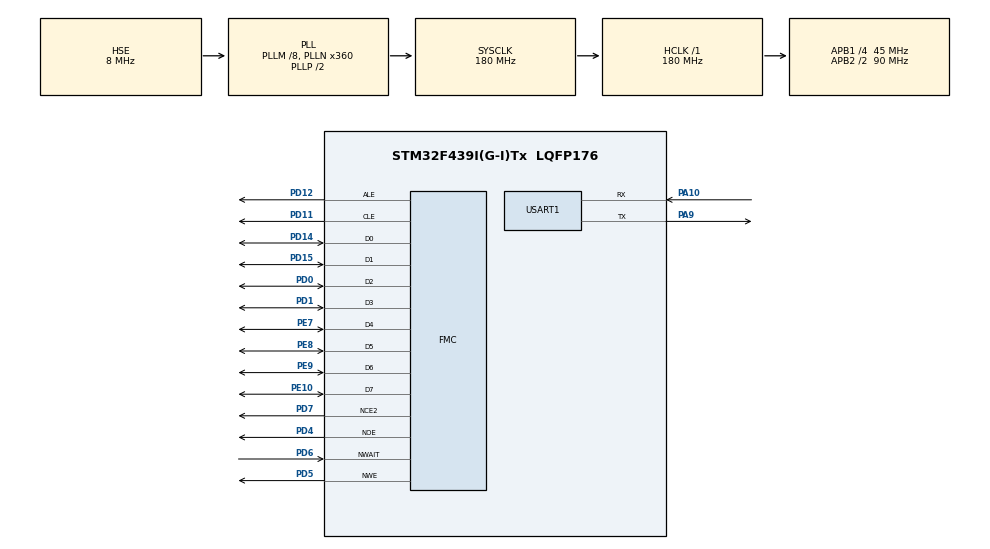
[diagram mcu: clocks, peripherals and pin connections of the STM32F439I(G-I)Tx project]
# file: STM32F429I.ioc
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FMC.AttributeSpaceHiZSetupTime1=0xF5
FMC.AttributeSpaceHoldSetupTime1=0xF2
FMC.AttributeSpaceSetupTime1=0xF5
FMC.AttributeSpaceWaitSetupTime1=0xF3
FMC.CommonSpaceHiZSetupTime1=0xF5
FMC.CommonSpaceHoldSetupTime1=0xF2
FMC.CommonSpaceSetupTime1=0xF5
FMC.CommonSpaceWaitSetupTime1=0xF3
FMC.ECCPageSize1=FMC_NAND_ECC_PAGE_SIZE_512BYTE
FMC.EccComputation1=FMC_NAND_ECC_ENABLE
Mcu.Family=STM32F4
Mcu.Name=STM32F439I(G-I)Tx
Mcu.Package=LQFP176
NVIC.PriorityGroup=NVIC_PRIORITYGROUP_4
PA10.Mode=Asynchronous
PA10.Signal=USART1_RX
PA9.Mode=Asynchronous
PA9.Signal=USART1_TX
PD0.GPIO_PuPd=GPIO_PULLUP
PD0.Signal=FMC_D2_DA2
PD1.GPIO_PuPd=GPIO_PULLUP
PD1.Signal=FMC_D3_DA3
PD11.GPIO_PuPd=GPIO_PULLUP
PD11.Signal=FMC_A16_CLE
PD12.GPIO_PuPd=GPIO_PULLUP
PD12.Signal=FMC_A17_ALE
PD14.GPIO_PuPd=GPIO_PULLUP
PD14.Signal=FMC_D0_DA0
PD15.GPIO_PuPd=GPIO_PULLUP
PD15.Signal=FMC_D1_DA1
PD4.GPIO_PuPd=GPIO_PULLUP
PD4.Signal=FMC_NOE
PD5.GPIO_PuPd=GPIO_PULLUP
PD5.Signal=FMC_NWE
PD6.GPIO_PuPd=GPIO_PULLUP
PD6.Signal=FMC_NWAIT
PD7.GPIO_PuPd=GPIO_PULLUP
PD7.Mode=NandChipSelect2_1
PD7.Signal=FMC_NCE2
PE10.GPIO_PuPd=GPIO_PULLUP
PE10.Signal=FMC_D7_DA7
PE7.GPIO_PuPd=GPIO_PULLUP
PE7.Signal=FMC_D4_DA4
PE8.GPIO_PuPd=GPIO_PULLUP
PE8.Signal=FMC_D5_DA5
PE9.GPIO_PuPd=GPIO_PULLUP
PE9.Signal=FMC_D6_DA6
PH0/OSC_IN.Mode=HSE-External-Oscillator
PH0/OSC_IN.Signal=RCC_OSC_IN
PH1/OSC_OUT.Mode=HSE-External-Oscillator
PH1/OSC_OUT.Signal=RCC_OSC_OUT
ProjectManager.TargetToolchain=MDK-ARM V5
RCC.48MHZClocksFreq_Value=90000000
RCC.AHBFreq_Value=180000000
RCC.APB1CLKDivider=RCC_HCLK_DIV4
RCC.APB1Freq_Value=45000000
RCC.APB1TimFreq_Value=90000000
RCC.APB2CLKDivider=RCC_HCLK_DIV2
RCC.APB2Freq_Value=90000000
RCC.APB2TimFreq_Value=180000000
RCC.CortexFreq_Value=180000000
RCC.HCLKFreq_Value=180000000
RCC.HSE_VALUE=8000000
RCC.HSI_VALUE=16000000
RCC.LSE_VALUE=32768
RCC.PLLM=8
RCC.PLLN=360
RCC.PLLSourceVirtual=RCC_PLLSOURCE_HSE
RCC.SYSCLKFreq_VALUE=180000000
RCC.SYSCLKSource=RCC_SYSCLKSOURCE_PLLCLK
RCC.VCOOutputFreq_Value=360000000
SH.FMC_A16_CLE.0=FMC_CLE,8b-dmux1
SH.FMC_A17_ALE.0=FMC_ALE,8b-dmux1
SH.FMC_D0_DA0.0=FMC_D0,8b-dmux1
SH.FMC_D1_DA1.0=FMC_D1,8b-dmux1
SH.FMC_D2_DA2.0=FMC_D2,8b-dmux1
SH.FMC_D3_DA3.0=FMC_D3,8b-dmux1
SH.FMC_D4_DA4.0=FMC_D4,8b-dmux1
SH.FMC_D5_DA5.0=FMC_D5,8b-dmux1
SH.FMC_D6_DA6.0=FMC_D6,8b-dmux1
SH.FMC_D7_DA7.0=FMC_D7,8b-dmux1
SH.FMC_NOE.0=FMC_NOE,8b-dmux1
SH.FMC_NWAIT.0=FMC_NWAIT,Wait1
SH.FMC_NWE.0=FMC_NWE,8b-dmux1
board=STM32F429I

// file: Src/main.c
/**
  ******************************************************************************
  * File Name          : main.c
  * Description        : Main program body
  ******************************************************************************
  *
  * COPYRIGHT(c) 2015 STMicroelectronics
  *
  * Redistribution and use in source and binary forms, with or without modification,
  * are permitted provided that the following conditions are met:
  *   1. Redistributions of source code must retain the above copyright notice,
  *      this list of conditions and the following disclaimer.
  *   2. Redistributions in binary form must reproduce the above copyright notice,
  *      this list of conditions and the following disclaimer in the documentation
  *      and/or other materials provided with the distribution.
  *   3. Neither the name of STMicroelectronics nor the names of its contributors
  *      may be used to endorse or promote products derived from this software
  *      without specific prior written permission.
  *
  * THIS SOFTWARE IS PROVIDED BY THE COPYRIGHT HOLDERS AND CONTRIBUTORS "AS IS"
  * AND ANY EXPRESS OR IMPLIED WARRANTIES, INCLUDING, BUT NOT LIMITED TO, THE
  * IMPLIED WARRANTIES OF MERCHANTABILITY AND FITNESS FOR A PARTICULAR PURPOSE ARE
  * DISCLAIMED. IN NO EVENT SHALL THE COPYRIGHT HOLDER OR CONTRIBUTORS BE LIABLE
  * FOR ANY DIRECT, INDIRECT, INCIDENTAL, SPECIAL, EXEMPLARY, OR CONSEQUENTIAL
  * DAMAGES (INCLUDING, BUT NOT LIMITED TO, PROCUREMENT OF SUBSTITUTE GOODS OR
  * SERVICES; LOSS OF USE, DATA, OR PROFITS; OR BUSINESS INTERRUPTION) HOWEVER
  * CAUSED AND ON ANY THEORY OF LIABILITY, WHETHER IN CONTRACT, STRICT LIABILITY,
  * OR TORT (INCLUDING NEGLIGENCE OR OTHERWISE) ARISING IN ANY WAY OUT OF THE USE
  * OF THIS SOFTWARE, EVEN IF ADVISED OF THE POSSIBILITY OF SUCH DAMAGE.
  *
  ******************************************************************************
  */
#include "stm32f4xx_hal.h"
#include "usart.h"
#include "gpio.h"
#include "fmc.h"

/* USER CODE BEGIN Includes */
#include <string.h>
/* USER CODE END Includes */

/* USER CODE BEGIN PV */
/* Private variables ---------------------------------------------------------*/
NAND_IDTypeDef NAND_ID;
NAND_AddressTypeDef WriteReadAddr;

/* for K9F1G08 */
#define NAND_PAGE_SIZE             ((uint16_t)0x0800) /* 2 * 1024 bytes per page w/o Spare Area */
#define NAND_BLOCK_SIZE            ((uint16_t)0x0040) /* 64 pages per block */
#define NAND_ZONE_SIZE             ((uint16_t)0x0400) /* 1024 Block per zone */
#define NAND_SPARE_AREA_SIZE       ((uint16_t)0x0040) /* last 64 bytes as spare area */
#define NAND_MAX_ZONE              ((uint16_t)0x0001) /* 1 zones of 1024 block */

static uint8_t TxBuffer [NAND_PAGE_SIZE];
static uint8_t RxBuffer [NAND_PAGE_SIZE];
uint16_t i,j;
uint16_t status;
/* USER CODE END PV */

void SystemClock_Config(void);

/* USER CODE BEGIN PFP */
/* Private function prototypes -----------------------------------------------*/

/* USER CODE END PFP */

int main(void)
{

  /* MCU Configuration----------------------------------------------------------*/

  /* Reset of all peripherals, Initializes the Flash interface and the Systick. */
  HAL_Init();

  /* Configure the system clock */
  SystemClock_Config();

  /* Initialize all configured peripherals */
  MX_GPIO_Init();
  MX_FMC_Init();
  MX_USART1_UART_Init();

  /* USER CODE BEGIN 2 */
	printf("\r\n***** NandFlash Example ******\r\n\r\n");

	/* Read the NAND memory ID */
	HAL_NAND_Read_ID(&hnand1, &NAND_ID);

	printf("Nand Flash ID = 0x%02X,0x%02X,0x%02X,0x%02X  ",NAND_ID.Maker_Id, NAND_ID.Device_Id,
		                                         NAND_ID.Third_Id, NAND_ID.Fourth_Id );
  if ((NAND_ID.Maker_Id == 0xEC) && (NAND_ID.Device_Id == 0xF1)
		&& (NAND_ID.Third_Id == 0x80) && (NAND_ID.Fourth_Id == 0x15))
  {
		printf("Type = K9F1G08U0A\r\n");
  }
  else if ((NAND_ID.Maker_Id == 0xEC) && (NAND_ID.Device_Id == 0xF1)
		&& (NAND_ID.Third_Id == 0x00) && (NAND_ID.Fourth_Id == 0x95))
  {
		printf("Type = K9F1G08U0B\r\n");
  }
  else if ((NAND_ID.Maker_Id == 0xAD) && (NAND_ID.Device_Id == 0xF1)
		&& (NAND_ID.Third_Id == 0x80) && (NAND_ID.Fourth_Id == 0x1D))
  {
		printf("Type = HY27UF081G2A\r\n");
  }
  else
  {
		printf("Type = Unknow\r\n");
  }

	/* NAND Memory info initialization */
	hnand1.Info.PageSize = NAND_PAGE_SIZE;
	hnand1.Info.SpareAreaSize = NAND_SPARE_AREA_SIZE;
	hnand1.Info.BlockSize = NAND_BLOCK_SIZE;
	hnand1.Info.BlockNbr = 1024;
	hnand1.Info.ZoneSize = NAND_ZONE_SIZE;

	/* NAND memory address to write to */
  WriteReadAddr.Zone = 0x00;
  WriteReadAddr.Block = 0x00;
  WriteReadAddr.Page = 0x00;

  /* Erase the NAND first Block */
  HAL_NAND_Erase_Block(&hnand1,&WriteReadAddr);

  /* Fill the buffer to send */
  for (i = 0; i < NAND_PAGE_SIZE; i++ )
  {
     TxBuffer[i] = i;
  }

	/* Write data to FMC NAND memory */
  HAL_NAND_Write_Page(&hnand1, &WriteReadAddr, TxBuffer, 1);
  printf("\r\nWritten to the number of�� \r\n");
  for(j = 0; j < 2048; j++)
		printf("0x%02X \r",TxBuffer[j]);

  /* Read data from FMC NAND memory */
  HAL_NAND_Read_Page(&hnand1, &WriteReadAddr, RxBuffer, 1);
  printf("\r\nRead several: \r\n");
  for(j = 0; j < 2048; j++)
		printf("0x%02X \r",RxBuffer[j]);

	/* check date */
	if(memcmp(TxBuffer,RxBuffer,sizeof(TxBuffer)) == 0 )
		printf("\r\n\r\n NandFlash Read Write Test OK\r\n");
	else
		printf("\r\n\r\n NandFlash Read Write False\r\n");
  /* USER CODE END 2 */

  /* Infinite loop */
  while (1)
  {

  }

}

/** System Clock Configuration
*/
void SystemClock_Config(void)
{

  RCC_OscInitTypeDef RCC_OscInitStruct;
  RCC_ClkInitTypeDef RCC_ClkInitStruct;

  __PWR_CLK_ENABLE();

  __HAL_PWR_VOLTAGESCALING_CONFIG(PWR_REGULATOR_VOLTAGE_SCALE1);

  RCC_OscInitStruct.OscillatorType = RCC_OSCILLATORTYPE_HSE;
  RCC_OscInitStruct.HSEState = RCC_HSE_ON;
  RCC_OscInitStruct.PLL.PLLState = RCC_PLL_ON;
  RCC_OscInitStruct.PLL.PLLSource = RCC_PLLSOURCE_HSE;
  RCC_OscInitStruct.PLL.PLLM = 8;
  RCC_OscInitStruct.PLL.PLLN = 360;
  RCC_OscInitStruct.PLL.PLLP = RCC_PLLP_DIV2;
  RCC_OscInitStruct.PLL.PLLQ = 4;
  HAL_RCC_OscConfig(&RCC_OscInitStruct);

  HAL_PWREx_ActivateOverDrive();

  RCC_ClkInitStruct.ClockType = RCC_CLOCKTYPE_SYSCLK|RCC_CLOCKTYPE_PCLK1
                              |RCC_CLOCKTYPE_PCLK2;
  RCC_ClkInitStruct.SYSCLKSource = RCC_SYSCLKSOURCE_PLLCLK;
  RCC_ClkInitStruct.AHBCLKDivider = RCC_SYSCLK_DIV1;
  RCC_ClkInitStruct.APB1CLKDivider = RCC_HCLK_DIV4;
  RCC_ClkInitStruct.APB2CLKDivider = RCC_HCLK_DIV2;
  HAL_RCC_ClockConfig(&RCC_ClkInitStruct, FLASH_LATENCY_5);

  HAL_SYSTICK_Config(HAL_RCC_GetHCLKFreq()/1000);

  HAL_SYSTICK_CLKSourceConfig(SYSTICK_CLKSOURCE_HCLK);

  /* SysTick_IRQn interrupt configuration */
  HAL_NVIC_SetPriority(SysTick_IRQn, 0, 0);
}

/************************ (C) COPYRIGHT STMicroelectronics *****END OF FILE****/
